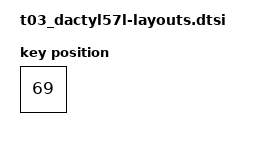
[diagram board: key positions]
#include <physical_layouts.dtsi>

/ {
    default_layout: default_layout {
        compatible = "zmk,physical-layout";
        display-name = "Default Layout";
        transform = <&default_transform>;
        kscan = <&kscan>;
        
        // 必须提供 70 个按键来匹配 default_transform 的映射数量
        keys =
            <&key_physical_attrs 100 100 0 0 0 0 0>, <&key_physical_attrs 100 100 0 0 0 0 0>,
            <&key_physical_attrs 100 100 0 0 0 0 0>, <&key_physical_attrs 100 100 0 0 0 0 0>,
            <&key_physical_attrs 100 100 0 0 0 0 0>, <&key_physical_attrs 100 100 0 0 0 0 0>,
            <&key_physical_attrs 100 100 0 0 0 0 0>, <&key_physical_attrs 100 100 0 0 0 0 0>,
            <&key_physical_attrs 100 100 0 0 0 0 0>, <&key_physical_attrs 100 100 0 0 0 0 0>,
            <&key_physical_attrs 100 100 0 0 0 0 0>, <&key_physical_attrs 100 100 0 0 0 0 0>,
            <&key_physical_attrs 100 100 0 0 0 0 0>, <&key_physical_attrs 100 100 0 0 0 0 0>,

            <&key_physical_attrs 100 100 0 0 0 0 0>, <&key_physical_attrs 100 100 0 0 0 0 0>,
            <&key_physical_attrs 100 100 0 0 0 0 0>, <&key_physical_attrs 100 100 0 0 0 0 0>,
            <&key_physical_attrs 100 100 0 0 0 0 0>, <&key_physical_attrs 100 100 0 0 0 0 0>,
            <&key_physical_attrs 100 100 0 0 0 0 0>, <&key_physical_attrs 100 100 0 0 0 0 0>,
            <&key_physical_attrs 100 100 0 0 0 0 0>, <&key_physical_attrs 100 100 0 0 0 0 0>,
            <&key_physical_attrs 100 100 0 0 0 0 0>, <&key_physical_attrs 100 100 0 0 0 0 0>,
            <&key_physical_attrs 100 100 0 0 0 0 0>, <&key_physical_attrs 100 100 0 0 0 0 0>,

            <&key_physical_attrs 100 100 0 0 0 0 0>, <&key_physical_attrs 100 100 0 0 0 0 0>,
            <&key_physical_attrs 100 100 0 0 0 0 0>, <&key_physical_attrs 100 100 0 0 0 0 0>,
            <&key_physical_attrs 100 100 0 0 0 0 0>, <&key_physical_attrs 100 100 0 0 0 0 0>,
            <&key_physical_attrs 100 100 0 0 0 0 0>, <&key_physical_attrs 100 100 0 0 0 0 0>,
            <&key_physical_attrs 100 100 0 0 0 0 0>, <&key_physical_attrs 100 100 0 0 0 0 0>,
            <&key_physical_attrs 100 100 0 0 0 0 0>, <&key_physical_attrs 100 100 0 0 0 0 0>,
            <&key_physical_attrs 100 100 0 0 0 0 0>, <&key_physical_attrs 100 100 0 0 0 0 0>,

            <&key_physical_attrs 100 100 0 0 0 0 0>, <&key_physical_attrs 100 100 0 0 0 0 0>,
            <&key_physical_attrs 100 100 0 0 0 0 0>, <&key_physical_attrs 100 100 0 0 0 0 0>,
            <&key_physical_attrs 100 100 0 0 0 0 0>, <&key_physical_attrs 100 100 0 0 0 0 0>,
            <&key_physical_attrs 100 100 0 0 0 0 0>, <&key_physical_attrs 100 100 0 0 0 0 0>,
            <&key_physical_attrs 100 100 0 0 0 0 0>, <&key_physical_attrs 100 100 0 0 0 0 0>,
            <&key_physical_attrs 100 100 0 0 0 0 0>, <&key_physical_attrs 100 100 0 0 0 0 0>,
            <&key_physical_attrs 100 100 0 0 0 0 0>, <&key_physical_attrs 100 100 0 0 0 0 0>,

            <&key_physical_attrs 100 100 0 0 0 0 0>, <&key_physical_attrs 100 100 0 0 0 0 0>,
            <&key_physical_attrs 100 100 0 0 0 0 0>, <&key_physical_attrs 100 100 0 0 0 0 0>,
            <&key_physical_attrs 100 100 0 0 0 0 0>, <&key_physical_attrs 100 100 0 0 0 0 0>,
            <&key_physical_attrs 100 100 0 0 0 0 0>, <&key_physical_attrs 100 100 0 0 0 0 0>,
            <&key_physical_attrs 100 100 0 0 0 0 0>, <&key_physical_attrs 100 100 0 0 0 0 0>,
            <&key_physical_attrs 100 100 0 0 0 0 0>, <&key_physical_attrs 100 100 0 0 0 0 0>,
            <&key_physical_attrs 100 100 0 0 0 0 0>, <&key_physical_attrs 100 100 0 0 0 0 0>
            ;
    };
};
